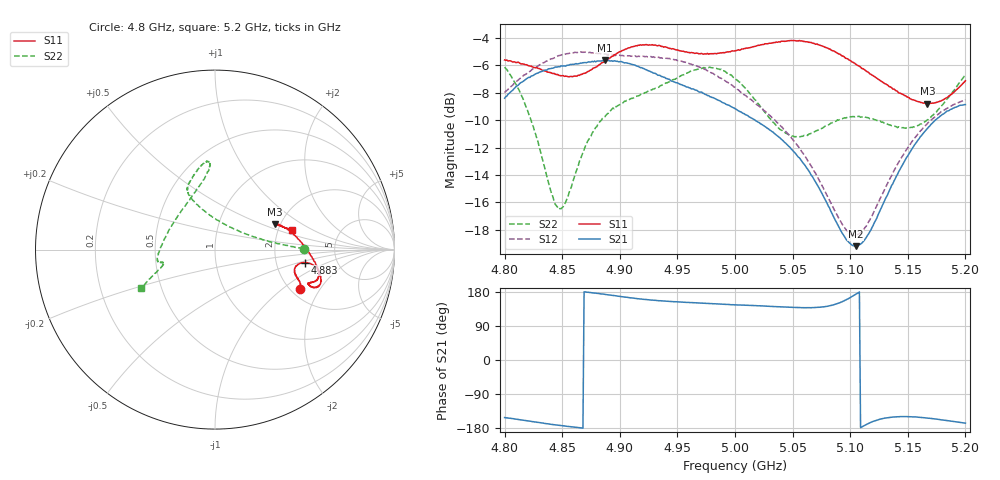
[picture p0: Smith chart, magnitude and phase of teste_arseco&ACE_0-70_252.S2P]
! Network Analyzer HP8722D
! Hewlett-Packard
! Data name: Linha & Wilkinson
! Saver's name: Rodrigo Anjos
! Comments: Teste da utilização de aquisição
! continua pelo VNA HP8722D
! Time and date: 8/5/2025 14:51
!  Frequency  S11  S21  S12  S22
# HZ  S  MA R 50
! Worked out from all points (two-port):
!   401 points, 4.8 GHz to 5.2 GHz, reference 50 ohm
!   highest |S21| = -5.63 dB at 4.887 GHz (marker M1); lowest = -19.2 dB at 5.105 GHz (marker M2)
!   |S21| within 3 dB of the highest: start of sweep to 4.988 GHz
!   lowest |S11| = -8.8 dB at 5.167 GHz (marker M3), VSWR 2.14, Z = 93.6 + j30.9 ohm
!   |S11| at or under -10 dB: nowhere
!   |S22| runs from -16.5 to -6.1 dB; largest |S21 - S12| = 1.1
!   S11 on the Smith chart (normalised r, x): 4.8 GHz: 2.23, -1.37; 4.883 GHz: 2.93, -0.57; 5.2 GHz: 2.36, +0.65
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4.8e9  0.5247 -25.1  0.3805 -151.9  0.3991 7.2  0.4939 0.5
4.818e9  0.5043 -20.8  0.4446 -159.8  0.4645 4.6  0.3592 5.2
4.846e9  0.4646 -16.2  0.4948 -171.9  0.5421 0.2  0.1521 54.7
4.853e9  0.4582 -14.5  0.4984 -174.4  0.5524 -1.2  0.1587 80.5
4.867e9  0.4651 -10.8  0.5111 -179.3  0.5603 -3.1  0.2352 107.5
4.883e9  0.5069 -8.2  0.5206 174.7  0.5539 -4.2  0.3133 114.8
4.887e9  0.5201 -8.2  0.5229 173.2  0.5522 -4.1  0.3256 115.2
4.912e9  0.5879 -11.8  0.5038 163.2  0.5414 -3.4  0.3818 113.4
4.934e9  0.5937 -16.8  0.4615 156.4  0.5371 -4.1  0.4176 107.6
4.974e9  0.553 -20.0  0.393 149.6  0.4845 -7.6  0.4895 95.6
5e9  0.5672 -20.8  0.3485 145.5  0.4172 -7.3  0.4502 94.3
5.04e9  0.6138 -19.3  0.2699 140.2  0.3003 -0.0  0.2913 126.9
5.053e9  0.6161 -17.2  0.2376 138.7  0.2598 3.2  0.2756 146.0
5.067e9  0.6049 -14.2  0.1975 138.3  0.2125 8.4  0.2838 165.0
5.094e9  0.5417 -4.3  0.1208 155.1  0.1301 34.8  0.3216 -173.2
5.105e9  0.5063 1.0  0.1097 173.8  0.1204 56.2  0.3272 -169.7
5.116e9  0.4719 6.6  0.1217 -167.2  0.1348 76.6  0.3226 -167.4
5.134e9  0.4189 15.4  0.1751 -151.5  0.1915 94.1  0.3041 -166.6
5.152e9  0.3788 21.9  0.2423 -149.7  0.258 98.9  0.297 -164.7
5.167e9  0.3639 23.2  0.2947 -153.4  0.3076 99.5  0.3173 -161.8
5.182e9  0.3784 20.9  0.3359 -159.0  0.3455 99.5  0.3681 -157.8
5.2e9  0.4405 14.6  0.3606 -166.6  0.3759 99.9  0.4635 -152.1
